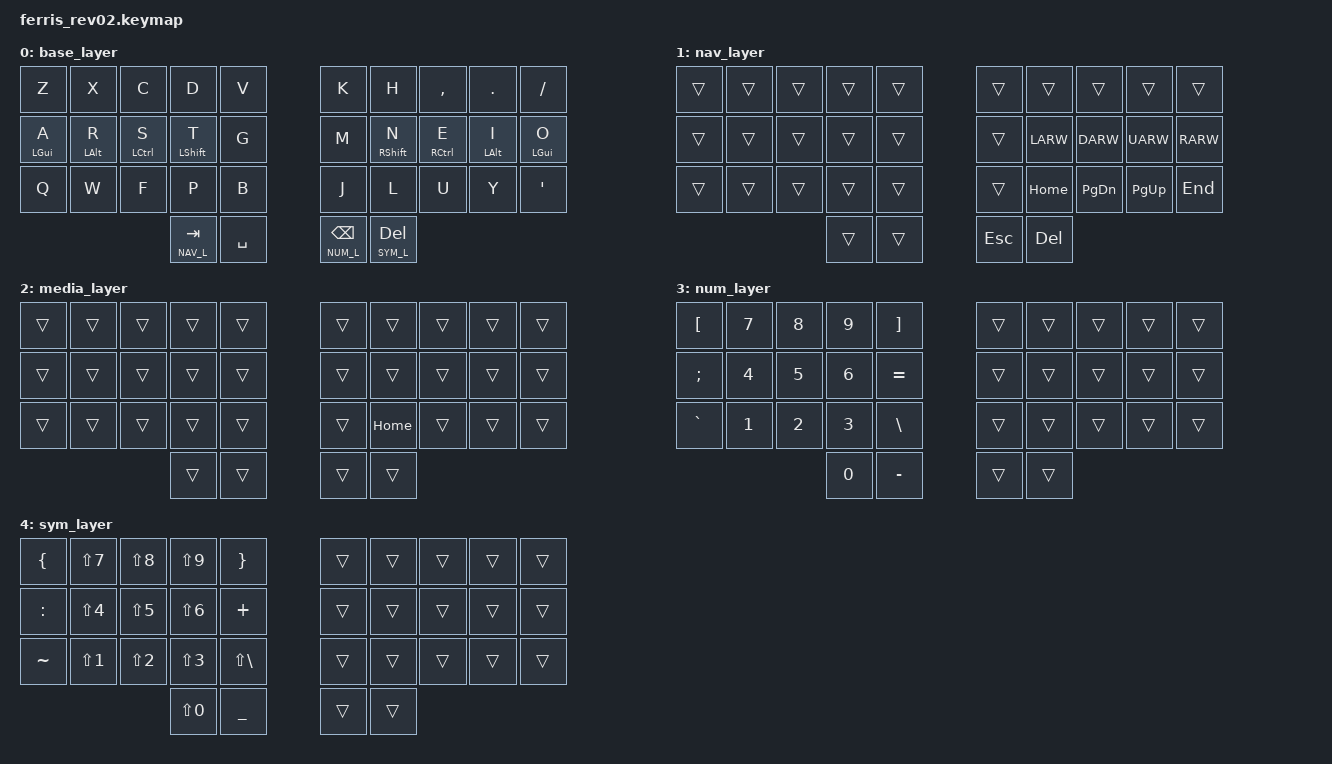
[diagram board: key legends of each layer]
/*
 * Copyright (c) 2020 The ZMK Contributors
 *
 * SPDX-License-Identifier: MIT
 */

#include <behaviors.dtsi>
#include <dt-bindings/zmk/keys.h>

#define NAV_L 1
#define OTHER_L 2
#define NUM_L 3
#define SYM_L 4

// Using layer taps on thumbs, having quick tap as well helps w/ repeating space/backspace

&lt { quick-tap-ms = <200>; };

/ {
    behaviors {
        hm: homerow_mods {
            compatible = "zmk,behavior-hold-tap";
            #binding-cells = <2>;
            tapping-term-ms = <200>;
            flavor = "tap-preferred";
            bindings = <&kp>, <&kp>;
        };
    };

    keymap {
        compatible = "zmk,keymap";

        base_layer {
            bindings = <
&kp Z       &kp X       &kp C        &kp D          &kp V        &kp K                &kp H             &kp COMMA    &kp PERIOD  &kp SLASH
&hm LGUI A  &hm LALT R  &hm LCTRL S  &hm LSHFT T    &kp G        &kp M                &hm RSHFT N       &hm RCTRL E  &hm LALT I  &hm LGUI O
&kp Q       &kp W       &kp F        &kp P          &kp B        &kp J                &kp L             &kp U        &kp Y       &kp SQT
                                     &lt NAV_L TAB  &kp SPACE    &lt NUM_L BACKSPACE  &lt SYM_L DELETE
            >;
        };

        nav_layer {
            bindings = <
&trans  &trans  &trans  &trans  &trans    &trans   &trans    &trans     &trans     &trans
&trans  &trans  &trans  &trans  &trans    &trans   &kp LARW  &kp DARW   &kp UARW   &kp RARW
&trans  &trans  &trans  &trans  &trans    &trans   &kp HOME  &kp PG_DN  &kp PG_UP  &kp END
                        &trans  &trans    &kp ESC  &kp DEL
            >;
        };

        media_layer {
            bindings = <
&trans  &trans  &trans  &trans  &trans    &trans  &trans    &trans  &trans  &trans
&trans  &trans  &trans  &trans  &trans    &trans  &trans    &trans  &trans  &trans
&trans  &trans  &trans  &trans  &trans    &trans  &kp HOME  &trans  &trans  &trans
                        &trans  &trans    &trans  &trans
            >;
        };

        num_layer {
            bindings = <
&kp LBKT   &kp N7  &kp N8  &kp N9  &kp RBKT     &trans  &trans  &trans  &trans  &trans
&kp SEMI   &kp N4  &kp N5  &kp N6  &kp EQUAL    &trans  &trans  &trans  &trans  &trans
&kp GRAVE  &kp N1  &kp N2  &kp N3  &kp BSLH     &trans  &trans  &trans  &trans  &trans
                           &kp N0  &kp MINUS    &trans  &trans
            >;
        };

        sym_layer {
            bindings = <
&kp LBRC   &kp LS(N7)  &kp LS(N8)  &kp LS(N9)  &kp RBRC        &trans  &trans  &trans  &trans  &trans
&kp COLON  &kp LS(N4)  &kp LS(N5)  &kp LS(N6)  &kp PLUS        &trans  &trans  &trans  &trans  &trans
&kp TILDE  &kp LS(N1)  &kp LS(N2)  &kp LS(N3)  &kp LS(BSLH)    &trans  &trans  &trans  &trans  &trans
                                   &kp LS(N0)  &kp UNDER       &trans  &trans
            >;
        };
    };
};
